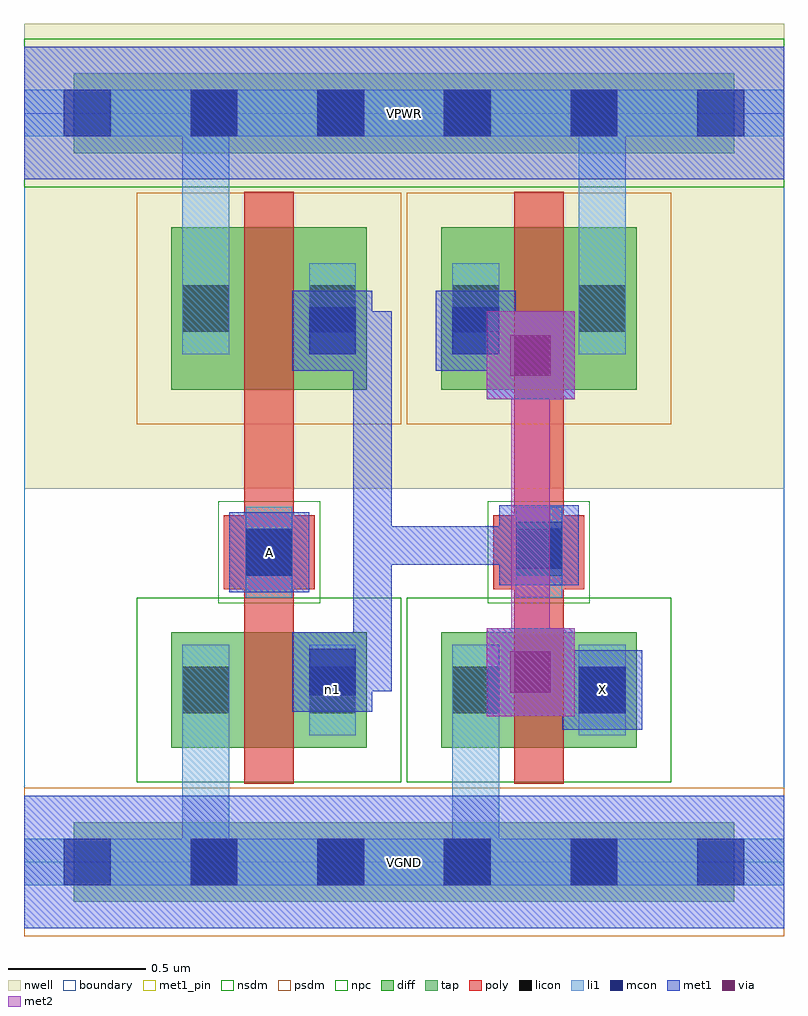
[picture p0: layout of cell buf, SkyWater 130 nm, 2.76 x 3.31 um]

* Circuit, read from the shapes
.subckt buf A VGND VPWR X n1
XM1 n1 A VGND VGND sky130_fd_pr__nfet_01v8 w=0.42 l=0.18
XM2 X n1 VGND VGND sky130_fd_pr__nfet_01v8 w=0.42 l=0.18
XM3 n1 A VPWR VPWR sky130_fd_pr__pfet_01v8 w=0.59 l=0.18
XM4 VPWR n1 X VPWR sky130_fd_pr__pfet_01v8 w=0.59 l=0.18
.ends

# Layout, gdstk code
import gdstk
lib = gdstk.Library(unit=1e-6, precision=1e-09)
def R(c, l, rs):  # rectangles x0, y0, x1, y1
    for r in rs: c.add(gdstk.rectangle(r[:2], r[2:], *l))
def A(c, l, x, y, w, h, nx, ny, dx, dy):  # array of equal rectangles
    R(c, l, [(x+i*dx, y+j*dy, x+i*dx+w, y+j*dy+h) for i in range(nx) for j in range(ny)])
nwell = (64, 20)
diff = (65, 20)
tap = (65, 44)
poly = (66, 20)
licon = (66, 44)
li1 = (67, 20)
mcon = (67, 44)
met1_pin = (68, 16)
met1 = (68, 20)
via = (68, 44)
met2 = (69, 20)
nsdm = (93, 44)
psdm = (94, 20)
npc = (95, 20)
boundary = (235, 4)

buf = lib.new_cell('buf')
R(buf, nwell, [(0,1.355,2.76,3.045)])
R(buf, diff, [(0.535,0.415,1.245,0.835), (1.515,0.415,2.225,0.835), (0.535,1.715,1.245,2.305), (1.515,1.715,2.225,2.305)])
R(buf, tap, [(0.18,-0.145,2.58,0.145), (0.18,2.575,2.58,2.865)])
R(buf, poly, [(0.8,0.285,0.98,2.435), (1.78,0.285,1.96,2.435), (0.725,0.99,1.055,1.26), (1.705,0.99,2.035,1.26)])
A(buf, licon, 0.605, -0.085, 0.17, 0.17, 4, 2, 0.46, 2.72)
R(buf, licon, [(0.575,0.54,0.745,0.71), (1.035,0.54,1.205,0.71), (1.555,0.54,1.725,0.71), (2.015,0.54,2.185,0.71), (0.805,1.04,0.975,1.21), (1.785,1.04,1.955,1.21), (0.575,1.925,0.745,2.095), (1.035,1.925,1.205,2.095), (1.555,1.925,1.725,2.095), (2.015,1.925,2.185,2.095)])
R(buf, li1, [(0,-0.085,2.76,0.085), (0.575,-0.085,0.745,0.79), (1.555,-0.085,1.725,0.79), (0.575,0.46,0.745,0.79), (1.035,0.46,1.205,0.79), (1.555,0.46,1.725,0.79), (2.015,0.46,2.185,0.79), (0.805,0.96,0.975,1.29), (1.785,0.96,1.955,1.29), (0.575,1.845,0.745,2.175), (0.575,1.845,0.745,2.805), (1.035,1.845,1.205,2.175), (1.555,1.845,1.725,2.175), (2.015,1.845,2.185,2.175), (2.015,1.845,2.185,2.805), (0,2.635,2.76,2.805)])
A(buf, mcon, 0.145, -0.085, 0.17, 0.17, 6, 2, 0.46, 2.72)
R(buf, mcon, [(2.015,0.54,2.185,0.71), (1.035,0.605,1.205,0.775), (0.805,1.04,0.975,1.21), (1.785,1.065,1.955,1.235), (1.035,1.845,1.205,2.015), (1.555,1.845,1.725,2.015)])
R(buf, met1_pin, [(0,-0.24,2.76,0.24), (1.955,0.48,2.245,0.77), (0.745,0.98,1.035,1.27), (0,2.48,2.76,2.96)])
R(buf, met1, [(0,-0.24,2.76,0.24), (1.955,0.48,2.245,0.77), (1.68,0.53,2,0.85), (0.975,0.545,1.265,0.835), (1.05,0.62,1.335,0.76), (1.195,0.62,1.335,1.22), (1.77,0.62,2.14,0.76), (2,0.62,2.14,0.76), (0.745,0.98,1.035,1.27), (1.725,1.005,2.015,1.295), (1.195,1.08,1.795,1.22), (1.195,1.08,1.335,1.91), (1.655,1.08,1.94,1.22), (1.68,1.68,2,2), (1.195,1.77,1.335,2), (1.77,1.77,1.91,2), (0.975,1.785,1.265,2.075), (1.495,1.785,1.785,2.075), (1.05,1.86,1.335,2), (1.57,1.86,1.91,2), (0,2.48,2.76,2.96)])
R(buf, via, [(1.765,0.615,1.915,0.765), (1.765,1.765,1.915,1.915)])
R(buf, met2, [(1.68,0.53,2,0.85), (1.77,0.62,1.91,1.91), (1.68,1.68,2,2)])
R(buf, nsdm, [(0.41,0.29,1.37,0.96), (1.39,0.29,2.35,0.96), (0,2.45,2.76,2.99)])
R(buf, psdm, [(0,-0.27,2.76,0.27), (0.41,1.59,1.37,2.43), (1.39,1.59,2.35,2.43)])
R(buf, npc, [(0.705,0.94,1.075,1.31), (1.685,0.94,2.055,1.31)])
R(buf, boundary, [(0,0,2.76,2.72)])
buf.add(gdstk.Label('n1', (1.12,0.625), layer=67, texttype=5))
buf.add(gdstk.Label('A', (0.89,1.125), layer=68, texttype=5))
buf.add(gdstk.Label('X', (2.1,0.625), layer=68, texttype=5))
buf.add(gdstk.Label('VPWR', (1.38,2.72), layer=68, texttype=5))
buf.add(gdstk.Label('VGND', (1.38,0), layer=68, texttype=5))
buf.add(gdstk.Label('A', (0.89,1.125), layer=68, texttype=16))
buf.add(gdstk.Label('X', (2.1,0.625), layer=68, texttype=16))
buf.add(gdstk.Label('VPWR', (1.38,2.72), layer=68, texttype=16))
buf.add(gdstk.Label('VGND', (1.38,0), layer=68, texttype=16))

lib.write_gds('buf.gds')
